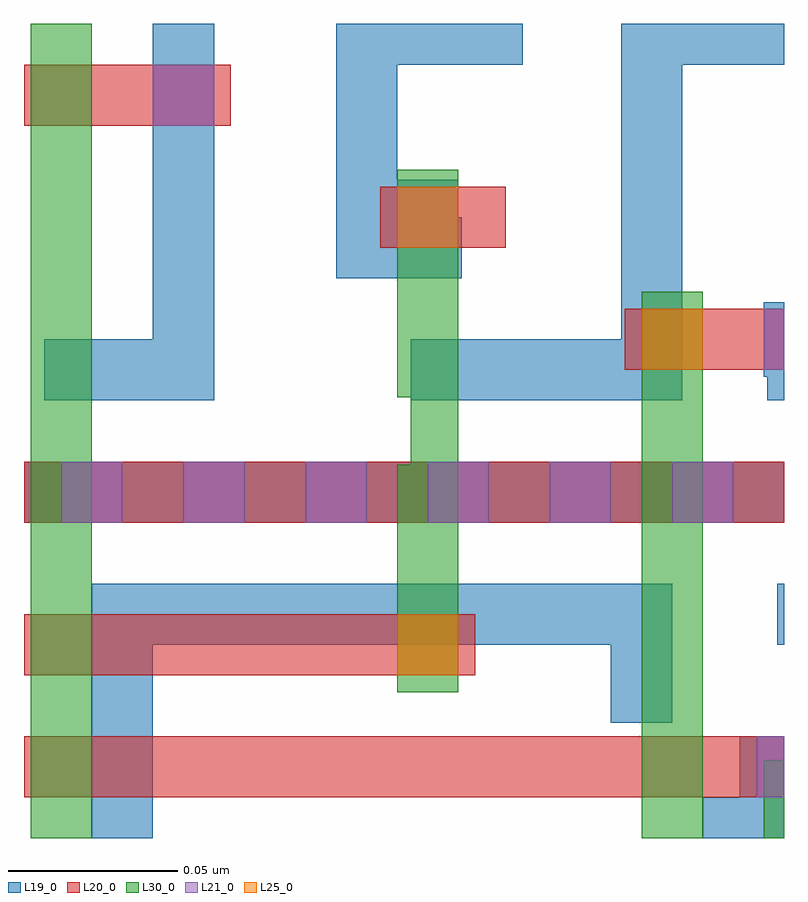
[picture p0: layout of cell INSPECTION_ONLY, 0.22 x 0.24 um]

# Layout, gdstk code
import gdstk
lib = gdstk.Library(unit=1e-6, precision=2.5e-10)
def R(c, l, rs):  # rectangles x0, y0, x1, y1
    for r in rs: c.add(gdstk.rectangle(r[:2], r[2:], *l))
def A(c, l, x, y, w, h, nx, ny, dx, dy):  # array of equal rectangles
    R(c, l, [(x+i*dx, y+j*dy, x+i*dx+w, y+j*dy+h) for i in range(nx) for j in range(ny)])
def P(c, l, *ps):  # polygons
    for p in ps: c.add(gdstk.Polygon(p, *l))
L19_0 = (19, 0)
L20_0 = (20, 0)
L21_0 = (21, 0)
L25_0 = (25, 0)
L30_0 = (30, 0)

inspection_only = lib.new_cell('INSPECTION_ONLY')
R(inspection_only, L19_0, [(2.538,2.598,2.556,2.673), (2.718,2.598,2.742,2.61), (2.718,2.598,2.736,2.61), (2.729,2.61,2.742,2.628), (2.691,2.632,2.709,2.673), (2.538,2.655,2.709,2.673), (2.74,2.655,2.742,2.673), (2.518,2.691,2.742,2.709), (2.518,2.691,2.742,2.709), (2.518,2.691,2.742,2.709), (2.518,2.691,2.592,2.709), (2.592,2.691,2.742,2.709), (2.737,2.727,2.742,2.745), (2.736,2.734,2.742,2.756), (2.628,2.77,2.646,2.792), (2.556,2.806,2.574,2.828)])
P(inspection_only, L19_0, [(2.632,2.727),(2.632,2.745),(2.694,2.745),(2.694,2.838),(2.742,2.838),(2.742,2.826),(2.712,2.826),(2.712,2.727)],
  [(2.61,2.763),(2.61,2.838),(2.665,2.838),(2.665,2.826),(2.628,2.826),(2.628,2.781),(2.647,2.781),(2.647,2.763)],
  [(2.524,2.727),(2.524,2.745),(2.556,2.745),(2.556,2.838),(2.574,2.838),(2.574,2.727)])
R(inspection_only, L20_0, [(2.518,2.61,2.742,2.628), (2.518,2.646,2.651,2.664), (2.518,2.691,2.742,2.709), (2.695,2.736,2.742,2.754), (2.623,2.772,2.66,2.79), (2.518,2.808,2.579,2.826)])
A(inspection_only, L21_0, 2.529, 2.691, 0.018, 0.018, 6, 1, 0.036, 0)
R(inspection_only, L21_0, [(2.734,2.61,2.742,2.628), (2.736,2.736,2.742,2.754), (2.628,2.772,2.646,2.79), (2.556,2.808,2.574,2.826)])
R(inspection_only, L25_0, [(2.628,2.646,2.646,2.664), (2.7,2.736,2.718,2.754), (2.628,2.772,2.646,2.79)])
R(inspection_only, L30_0, [(2.52,2.598,2.538,2.838), (2.7,2.598,2.718,2.759), (2.736,2.598,2.742,2.621)])
P(inspection_only, L30_0, [(2.628,2.641),(2.628,2.708),(2.632,2.708),(2.632,2.728),(2.628,2.728),(2.628,2.795),(2.646,2.795),(2.646,2.641)])

lib.write_gds('INSPECTION_ONLY.gds')
